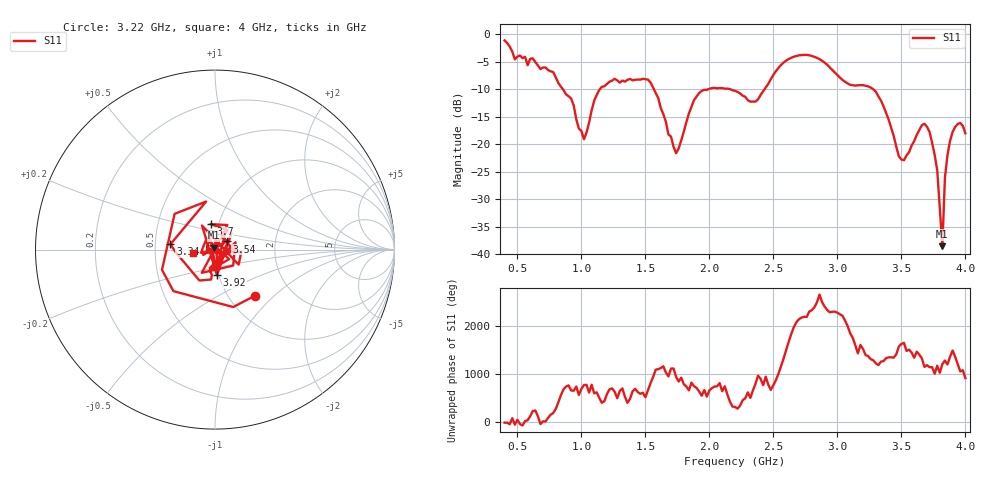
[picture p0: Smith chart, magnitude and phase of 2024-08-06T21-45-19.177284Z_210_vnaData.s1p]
!Created with skrf (http://scikit-rf.org).
# Hz S RI R 50.0
!freq ReS11 ImS11
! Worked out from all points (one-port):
!   181 points, 400 MHz to 4 GHz, reference 50 ohm
!   lowest |S11| = -38.6 dB at 3.82 GHz (marker M1), VSWR 1.02, Z = 49.4 + j1.01 ohm
!   |S11| at or under -10 dB: 855.1 MHz to 1.144 GHz (288.9 MHz wide, 28.9 % of centre); 1.566 GHz to 1.992 GHz (425.4 MHz wide, 23.9 % of centre); 3.28 GHz to end of sweep (the widest 3 of 4)
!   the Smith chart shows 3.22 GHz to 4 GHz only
!   S11 on the Smith chart (normalised r, x): 3.22 GHz: 1.32, -0.77; 3.34 GHz: 0.60, +0.04; 3.54 GHz: 1.13, +0.10; 3.7 GHz: 0.92, +0.27; 3.92 GHz: 0.98, -0.29; 4 GHz: 0.78, -0.03
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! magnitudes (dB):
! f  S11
! 400 MHz  -1.1
! 480 MHz  -4.6
! 620 MHz  -4.4
! 860 MHz  -10.1
! 1.02 GHz  -19.1
! 1.14 GHz  -10.1
! 1.3 GHz  -8.8
! 1.52 GHz  -8.2
! 1.74 GHz  -21.6
! 1.76 GHz  -20.8
! 1.92 GHz  -10.7
! 2.2 GHz  -10.3
! 2.36 GHz  -12.3
! 2.66 GHz  -4.1
! 2.86 GHz  -4.5
! 3.1 GHz  -9.2
! 3.22 GHz  -9.4
! 3.34 GHz  -12.0
! 3.48 GHz  -22.2
! 3.54 GHz  -22.1
! 3.56 GHz  -21.5
! 3.7 GHz  -16.8
! 3.78 GHz  -24.7
! 3.82 GHz  -38.6
! 3.84 GHz  -26.1
! 3.88 GHz  -19.4
! 3.92 GHz  -16.9
! 4 GHz  -18.0
